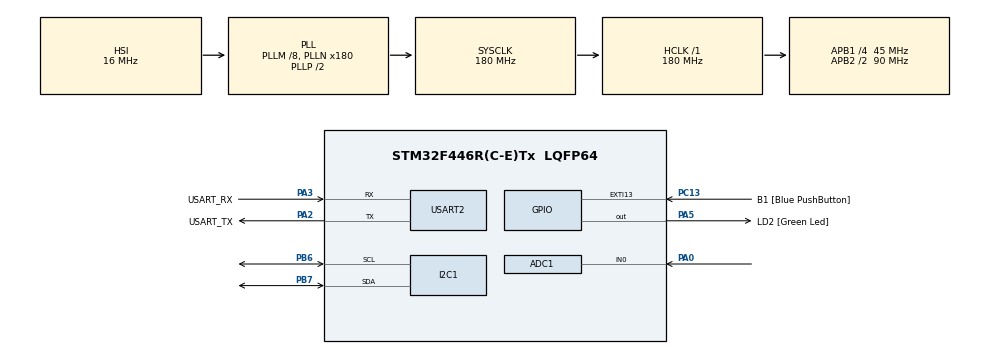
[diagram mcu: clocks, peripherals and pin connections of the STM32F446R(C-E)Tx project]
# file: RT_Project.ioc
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ADC1.Channel-0\#ChannelRegularConversion=ADC_CHANNEL_0
ADC1.NbrOfConversionFlag=1
ADC1.Rank-0\#ChannelRegularConversion=1
ADC1.Resolution=ADC_RESOLUTION_10B
ADC1.SamplingTime-0\#ChannelRegularConversion=ADC_SAMPLETIME_84CYCLES
ADC1.master=1
FREERTOS.Tasks01=Sensor1,32,512,StartDefaultTask,Default,NULL,Dynamic,NULL,NULL;AITask,8,2048,StartTask02,Default,NULL,Dynamic,NULL,NULL
FREERTOS.configUSE_NEWLIB_REENTRANT=1
I2C1.I2C_Mode=I2C_Fast
Mcu.Family=STM32F4
Mcu.Name=STM32F446R(C-E)Tx
Mcu.Package=LQFP64
NVIC.PriorityGroup=NVIC_PRIORITYGROUP_4
NVIC.TIM1_UP_TIM10_IRQn=true\:15\:0\:false\:false\:true\:false\:false\:true\:true
NVIC.TimeBase=TIM1_UP_TIM10_IRQn
NVIC.TimeBaseIP=TIM1
PA0-WKUP.Signal=ADCx_IN0
PA13.GPIO_Label=TMS
PA13.Mode=Serial_Wire
PA13.Signal=SYS_JTMS-SWDIO
PA14.GPIO_Label=TCK
PA14.Mode=Serial_Wire
PA14.Signal=SYS_JTCK-SWCLK
PA2.GPIO_Label=USART_TX
PA2.Mode=Asynchronous
PA2.Signal=USART2_TX
PA3.GPIO_Label=USART_RX
PA3.Mode=Asynchronous
PA3.Signal=USART2_RX
PA5.GPIO_Label=LD2 [Green Led]
PA5.Signal=GPIO_Output
PB3.GPIO_Label=SWO
PB3.Signal=SYS_JTDO-SWO
PB6.Mode=I2C
PB6.Signal=I2C1_SCL
PB7.Mode=I2C
PB7.Signal=I2C1_SDA
PC13.GPIO_Label=B1 [Blue PushButton]
PC13.GPIO_ModeDefaultEXTI=GPIO_MODE_IT_FALLING
PC13.Signal=GPXTI13
PC14-OSC32_IN.Mode=LSE-External-Oscillator
PC14-OSC32_IN.Signal=RCC_OSC32_IN
PC15-OSC32_OUT.Mode=LSE-External-Oscillator
PC15-OSC32_OUT.Signal=RCC_OSC32_OUT
PH0-OSC_IN.Mode=HSE-External-Oscillator
PH0-OSC_IN.Signal=RCC_OSC_IN
PH1-OSC_OUT.Mode=HSE-External-Oscillator
PH1-OSC_OUT.Signal=RCC_OSC_OUT
ProjectManager.HeapSize=0x200
ProjectManager.StackSize=0x400
ProjectManager.TargetToolchain=STM32CubeIDE
RCC.48MHZClocksFreq_Value=84000000
RCC.AHBFreq_Value=180000000
RCC.APB1CLKDivider=RCC_HCLK_DIV4
RCC.APB1Freq_Value=45000000
RCC.APB1TimFreq_Value=90000000
RCC.APB2CLKDivider=RCC_HCLK_DIV2
RCC.APB2Freq_Value=90000000
RCC.APB2TimFreq_Value=180000000
RCC.CortexFreq_Value=180000000
RCC.FLatency-AdvancedSettings=FLASH_LATENCY_5
RCC.HCLKFreq_Value=180000000
RCC.HSE_VALUE=8000000
RCC.HSI_VALUE=16000000
RCC.PLLM=8
RCC.PLLN=180
RCC.SYSCLKFreq_VALUE=180000000
RCC.SYSCLKSource=RCC_SYSCLKSOURCE_PLLCLK
RCC.USBFreq_Value=180000000
RCC.VCOOutputFreq_Value=360000000
SH.ADCx_IN0.0=ADC1_IN0,IN0
USART2.VirtualMode=VM_ASYNC
VP_FREERTOS_VS_CMSIS_V2.Mode=CMSIS_V2
VP_SYS_VS_tim1.Mode=TIM1
board=NUCLEO-F446RE

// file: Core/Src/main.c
/* USER CODE BEGIN Header */
/**
  ******************************************************************************
  * @file           : main.c
  * @brief          : Main program body
  ******************************************************************************
  * @attention
  *
  * Copyright (c) 2026 STMicroelectronics.
  * All rights reserved.
  *
  * This software is licensed under terms that can be found in the LICENSE file
  * in the root directory of this software component.
  * If no LICENSE file comes with this software, it is provided AS-IS.
  *
  ******************************************************************************
  */
/* USER CODE END Header */
#include "main.h"
#include "cmsis_os.h"
#include "adc.h"
#include "i2c.h"
#include "usart.h"
#include "gpio.h"

/* USER CODE BEGIN Includes */
#include <stdio.h>
#include "gesture_runtime.h"
/* USER CODE END Includes */

/* USER CODE BEGIN PD */
/* TEMP_PRESENTATION_FALLBACK: force CSV output back on for screenshots. */
/* Set 1 to stream CSV for Python dataLogger; 0 for gesture pipeline (no per-sample UART flood). */
#define SENSOR_CSV_UART_LOG 1
/* TEMP_PRESENTATION_FALLBACK: disable gesture runtime path temporarily. */
#define GESTURE_RUNTIME_ENABLE 0
/* USER CODE END PD */

void SystemClock_Config(void);
void MX_FREERTOS_Init(void);

/* USER CODE BEGIN 0 */

#define MPU6050_ADDR (0x68U << 1)
#define PWR_MGMT_1   0x6B
#define WHO_AM_I     0x75
#define ACCEL_XOUT_H 0x3B

HAL_StatusTypeDef MPU6050_Init(void) {
    uint8_t whoami = 0U;
    uint8_t data = 0U;
    HAL_StatusTypeDef status;

    HAL_Delay(100U);
    status = HAL_I2C_IsDeviceReady(&hi2c1, MPU6050_ADDR, 3U, 100U);
    if (status != HAL_OK) {
        return status;
    }

    status = HAL_I2C_Mem_Read(&hi2c1, MPU6050_ADDR, WHO_AM_I, I2C_MEMADD_SIZE_8BIT, &whoami, 1U, 100U);
    if ((status != HAL_OK) || (whoami != 0x68U)) {
        return HAL_ERROR;
    }

    status = HAL_I2C_Mem_Write(&hi2c1, MPU6050_ADDR, PWR_MGMT_1, I2C_MEMADD_SIZE_8BIT, &data, 1U, 100U);
    return status;
}

/* USER CODE END 0 */

int main(void)
{

  /* MCU Configuration--------------------------------------------------------*/

  /* Reset of all peripherals, Initializes the Flash interface and the Systick. */
  HAL_Init();

  /* Configure the system clock */
  SystemClock_Config();

  /* Initialize all configured peripherals */
  MX_GPIO_Init();
  MX_ADC1_Init();
  MX_I2C1_Init();
  MX_USART2_UART_Init();

  /* Init scheduler */
  osKernelInitialize();  /* Call init function for freertos objects (in cmsis_os2.c) */
  MX_FREERTOS_Init();

  /* Start scheduler */
  osKernelStart();

  /* We should never get here as control is now taken by the scheduler */

  /* Infinite loop */
  while (1)
  {

  }
}

void SystemClock_Config(void)
{
  RCC_OscInitTypeDef RCC_OscInitStruct = {0};
  RCC_ClkInitTypeDef RCC_ClkInitStruct = {0};

  /** Configure the main internal regulator output voltage
  */
  __HAL_RCC_PWR_CLK_ENABLE();
  __HAL_PWR_VOLTAGESCALING_CONFIG(PWR_REGULATOR_VOLTAGE_SCALE1);

  /** Initializes the RCC Oscillators according to the specified parameters
  * in the RCC_OscInitTypeDef structure.
  */
  RCC_OscInitStruct.OscillatorType = RCC_OSCILLATORTYPE_HSI;
  RCC_OscInitStruct.HSIState = RCC_HSI_ON;
  RCC_OscInitStruct.HSICalibrationValue = RCC_HSICALIBRATION_DEFAULT;
  RCC_OscInitStruct.PLL.PLLState = RCC_PLL_ON;
  RCC_OscInitStruct.PLL.PLLSource = RCC_PLLSOURCE_HSI;
  RCC_OscInitStruct.PLL.PLLM = 8;
  RCC_OscInitStruct.PLL.PLLN = 180;
  RCC_OscInitStruct.PLL.PLLP = RCC_PLLP_DIV2;
  RCC_OscInitStruct.PLL.PLLQ = 2;
  RCC_OscInitStruct.PLL.PLLR = 2;
  if (HAL_RCC_OscConfig(&RCC_OscInitStruct) != HAL_OK)
  {
    Error_Handler();
  }

  /** Activate the Over-Drive mode
  */
  if (HAL_PWREx_EnableOverDrive() != HAL_OK)
  {
    Error_Handler();
  }

  /** Initializes the CPU, AHB and APB buses clocks
  */
  RCC_ClkInitStruct.ClockType = RCC_CLOCKTYPE_HCLK|RCC_CLOCKTYPE_SYSCLK
                              |RCC_CLOCKTYPE_PCLK1|RCC_CLOCKTYPE_PCLK2;
  RCC_ClkInitStruct.SYSCLKSource = RCC_SYSCLKSOURCE_PLLCLK;
  RCC_ClkInitStruct.AHBCLKDivider = RCC_SYSCLK_DIV1;
  RCC_ClkInitStruct.APB1CLKDivider = RCC_HCLK_DIV4;
  RCC_ClkInitStruct.APB2CLKDivider = RCC_HCLK_DIV2;

  if (HAL_RCC_ClockConfig(&RCC_ClkInitStruct, FLASH_LATENCY_5) != HAL_OK)
  {
    Error_Handler();
  }
}

/* USER CODE BEGIN 4 */

/* UART CSV line — frame_id,ax,ay,az,gx,gy,gz,pot (one row = one successful read) */
HAL_StatusTypeDef Run_Sensor_Acquisition(uint32_t frame_id) {
    uint8_t imu_raw[14];
    int16_t ax, ay, az, gx, gy, gz;
    uint32_t adc_val = 0U;
    HAL_StatusTypeDef status;

    if (HAL_ADC_Start(&hadc1) != HAL_OK) {
        return HAL_ERROR;
    }
    if (HAL_ADC_PollForConversion(&hadc1, 5U) == HAL_OK) {
        adc_val = HAL_ADC_GetValue(&hadc1);
    }
    (void)HAL_ADC_Stop(&hadc1);

    status = HAL_I2C_Mem_Read(&hi2c1, MPU6050_ADDR, ACCEL_XOUT_H, I2C_MEMADD_SIZE_8BIT, imu_raw, 14U, 10U);
    if (status != HAL_OK) {
        return status;
    }

    ax = (int16_t)((imu_raw[0] << 8) | imu_raw[1]);
    ay = (int16_t)((imu_raw[2] << 8) | imu_raw[3]);
    az = (int16_t)((imu_raw[4] << 8) | imu_raw[5]);
    gx = (int16_t)((imu_raw[8] << 8) | imu_raw[9]);
    gy = (int16_t)((imu_raw[10] << 8) | imu_raw[11]);
    gz = (int16_t)((imu_raw[12] << 8) | imu_raw[13]);

#if GESTURE_RUNTIME_ENABLE
    GestureRuntime_OnSample(ax, ay, az, gx, gy, gz, adc_val);
#endif

#if SENSOR_CSV_UART_LOG
    printf("%lu,%d,%d,%d,%d,%d,%d,%lu\r\n",
           (unsigned long)frame_id, (int)ax, (int)ay, (int)az, (int)gx, (int)gy, (int)gz,
           (unsigned long)adc_val);
#endif
    return HAL_OK;
}

int __io_putchar(int ch) {
    HAL_UART_Transmit(&huart2, (uint8_t *)&ch, 1, 0xFFFF);
    return ch;
}

int _write(int file, char *ptr, int len) {
    (void)file;
    HAL_UART_Transmit(&huart2, (uint8_t *)ptr, (uint16_t)len, HAL_MAX_DELAY);
    return len;
}

/* USER CODE END 4 */

void HAL_TIM_PeriodElapsedCallback(TIM_HandleTypeDef *htim)
{
  if (htim->Instance == TIM1)
  {
    HAL_IncTick();
  }
}

void Error_Handler(void)
{
  __disable_irq();
  while (1)
  {
  }
}

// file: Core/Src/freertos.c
/* USER CODE BEGIN Header */
/**
  ******************************************************************************
  * File Name          : freertos.c
  * Description        : Code for freertos applications
  ******************************************************************************
  * @attention
  *
  * Copyright (c) 2026 STMicroelectronics.
  * All rights reserved.
  *
  * This software is licensed under terms that can be found in the LICENSE file
  * in the root directory of this software component.
  * If no LICENSE file comes with this software, it is provided AS-IS.
  *
  ******************************************************************************
  */
/* USER CODE END Header */

#include "FreeRTOS.h"
#include "task.h"
#include "main.h"
#include "cmsis_os.h"

/* USER CODE BEGIN Includes */
#include <stdio.h>
#include "gesture_runtime.h"
/* USER CODE END Includes */

/* USER CODE BEGIN PD */
/* TEMP_PRESENTATION_FALLBACK: set 0 to bypass new runtime while presenting */
#define GESTURE_RUNTIME_ENABLE 0

/* USER CODE END PD */

/* Definitions for Sensor1 */
osThreadId_t Sensor1Handle;
const osThreadAttr_t Sensor1_attributes = {
  .name = "Sensor1",
  .stack_size = 512 * 4,
  .priority = (osPriority_t) osPriorityAboveNormal,
};
/* Definitions for AITask */
osThreadId_t AITaskHandle;
const osThreadAttr_t AITask_attributes = {
  .name = "AITask",
  .stack_size = 2048 * 4,
  .priority = (osPriority_t) osPriorityLow,
};

void StartDefaultTask(void *argument);
void StartTask02(void *argument);

void MX_FREERTOS_Init(void); /* (MISRA C 2004 rule 8.1) */

void MX_FREERTOS_Init(void) {

  /* USER CODE BEGIN RTOS_QUEUES */
#if GESTURE_RUNTIME_ENABLE
  GestureRuntime_Init();
#endif
  /* USER CODE END RTOS_QUEUES */

  /* Create the thread(s) */
  /* creation of Sensor1 */
  Sensor1Handle = osThreadNew(StartDefaultTask, NULL, &Sensor1_attributes);

  /* creation of AITask */
  AITaskHandle = osThreadNew(StartTask02, NULL, &AITask_attributes);

}

void StartDefaultTask(void *argument)
{
  /* USER CODE BEGIN StartDefaultTask */
  /* Day6: monotonic frame_id every 10 ms tick — gaps in CSV = no row for that id (I2C drop or UART loss) */
  uint32_t next_wake_tick;
  uint32_t error_count = 0U;
  uint32_t frame_id = 0U;

  if (MPU6050_Init() != HAL_OK) {
    printf("MPU6050 init failed\r\n");
  } else {
    printf("MPU6050 init OK\r\n");
  }

  next_wake_tick = osKernelGetTickCount();
  for(;;) {
    frame_id++;
    if (Run_Sensor_Acquisition(frame_id) != HAL_OK) {
      error_count++;
      if ((error_count % 20U) == 0U) {
        printf("Sensor read error x%lu (last frame_id=%lu)\r\n",
               (unsigned long)error_count, (unsigned long)frame_id);
      }
    }
    next_wake_tick += 10U;
    osDelayUntil(next_wake_tick);
  }
  /* USER CODE END StartDefaultTask */
}

void StartTask02(void *argument)
{
  /* USER CODE BEGIN StartTask02 */
#if GESTURE_RUNTIME_ENABLE
  GestureRuntime_AITaskLoop();
#else
  for(;;)
  {
    osDelay(100);
  }
#endif
  /* USER CODE END StartTask02 */
}
